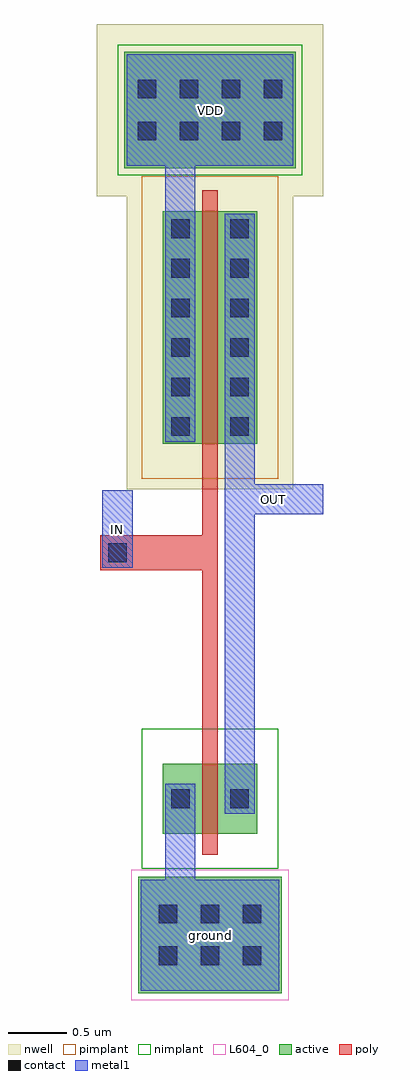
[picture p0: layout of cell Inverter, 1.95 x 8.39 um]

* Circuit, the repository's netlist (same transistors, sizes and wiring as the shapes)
* LVS netlist generated with ICnet by 'penatb' on Fri Feb 15 2019 at 13:09:40

*
* Globals.
*
.global ground VDD

*
* Component pathname : $LAB_1/Tutorials/Tutorial_1
*
.subckt Tutorial_1  OUT IN

        M2 OUT IN VDD VDD pmos l=0.13u w=2u m=1
        M1 OUT IN ground ground nmos l=0.13u w=0.6u m=1
.ends Tutorial_1

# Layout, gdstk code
import gdstk
lib = gdstk.Library(unit=1e-6, precision=1e-09)
def R(c, l, rs):  # rectangles x0, y0, x1, y1
    for r in rs: c.add(gdstk.rectangle(r[:2], r[2:], *l))
def A(c, l, x, y, w, h, nx, ny, dx, dy):  # array of equal rectangles
    R(c, l, [(x+i*dx, y+j*dy, x+i*dx+w, y+j*dy+h) for i in range(nx) for j in range(ny)])
nwell = (3, 0)
active = (6, 0)
poly = (17, 0)
pimplant = (25, 0)
nimplant = (26, 0)
contact = (30, 0)
metal1 = (31, 0)
L604_0 = (604, 0)

poly_m1 = lib.new_cell('POLY_M1')
R(poly_m1, poly, [(-0.15,-0.15,0.15,0.15)])
R(poly_m1, contact, [(-0.08,-0.08,0.08,0.08)])
R(poly_m1, metal1, [(-0.13,-0.13,0.13,0.13)])

inverter = lib.new_cell('Inverter')
R(inverter, nwell, [(0.26,-2.52,1.69,0.26), (0,0,1.95,1.48)])
R(inverter, active, [(0.36,-6.85,1.59,-5.85), (0.57,-5.48,1.38,-4.88), (0.57,-2.13,1.38,-0.13), (0.24,0.24,1.71,1.24)])
R(inverter, poly, [(0.91,-5.66,1.04,0.05)])
R(inverter, pimplant, [(0.3,-6.91,1.65,-5.79), (0.39,-2.43,1.56,0.17)])
R(inverter, nimplant, [(0.39,-5.78,1.56,-4.58), (0.18,0.18,1.77,1.3)])
A(inverter, contact, 0.535, -6.61, 0.16, 0.16, 3, 2, 0.36, 0.36)
A(inverter, contact, 0.64, -2.06, 0.16, 0.16, 1, 6, 0, 0.34)
A(inverter, contact, 1.15, -2.06, 0.16, 0.16, 1, 6, 0, 0.34)
A(inverter, contact, 0.355, 0.48, 0.16, 0.16, 4, 2, 0.36, 0.36)
R(inverter, contact, [(0.64,-5.26,0.8,-5.1), (1.15,-5.26,1.31,-5.1)])
R(inverter, metal1, [(0.38,-6.83,1.57,-5.875), (0.59,-5.31,0.85,-5.05), (1.1,-5.31,1.36,-5.05), (0.59,-2.11,0.85,-0.15), (1.1,-2.11,1.36,-0.15), (0.26,0.26,1.69,1.22)])
R(inverter, L604_0, [(0.3,-6.91,1.65,-5.79)])
inverter.add(gdstk.FlexPath([(1.1,-2.605),(1.95,-2.605)], 0.26, ends="flush", simple_path=True, layer=31, datatype=0))  # metal1
inverter.add(gdstk.FlexPath([(0.18,-3.195),(0.18,-2.53)], 0.26, ends="flush", simple_path=True, layer=31, datatype=0))  # metal1
inverter.add(gdstk.FlexPath([(0.175,-3.065),(1.04,-3.065)], 0.3, ends="flush", simple_path=True, layer=17, datatype=0))  # poly
inverter.add(gdstk.FlexPath([(1.23,-5.31),(1.23,-1.9)], 0.26, ends="flush", simple_path=True, layer=31, datatype=0))  # metal1
inverter.add(gdstk.FlexPath([(0.72,-0.36),(0.72,0.56)], 0.26, ends="flush", simple_path=True, layer=31, datatype=0))  # metal1
inverter.add(gdstk.FlexPath([(0.72,-5.05),(0.72,-6.17)], 0.26, ends="flush", simple_path=True, layer=31, datatype=0))  # metal1
inverter.add(gdstk.FlexPath([(0.72,-5.05),(0.72,-6.17)], 0.26, ends="flush", simple_path=True, layer=31, datatype=0))  # metal1
inverter.add(gdstk.Reference(poly_m1, (0.18,-3.065)))
inverter.add(gdstk.Label('OUT', (1.525,-2.605), layer=131, texttype=0))
inverter.add(gdstk.Label('VDD', (0.975,0.74), layer=131, texttype=0))
inverter.add(gdstk.Label('IN', (0.18,-2.863), layer=131, texttype=0))
inverter.add(gdstk.Label('ground', (0.975,-6.353), layer=131, texttype=0))

lib.write_gds('Inverter.gds')
